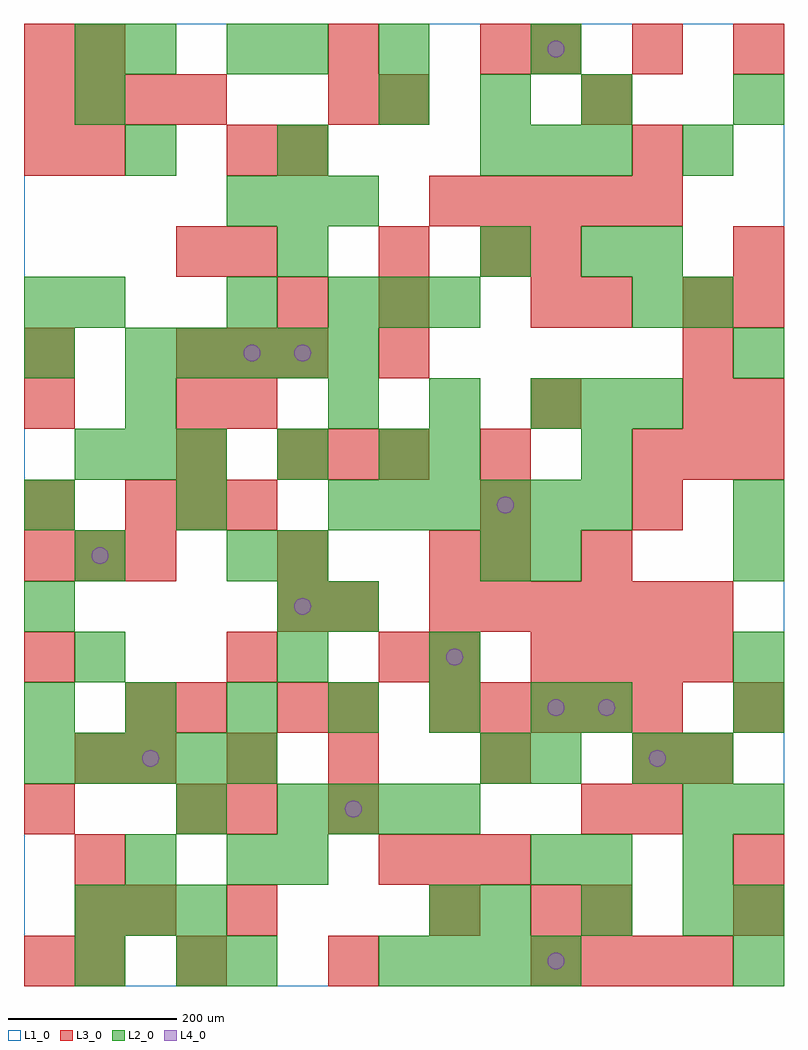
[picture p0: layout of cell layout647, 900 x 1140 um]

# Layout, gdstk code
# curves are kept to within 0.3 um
import gdstk
lib = gdstk.Library(unit=1e-6, precision=1e-09)
def R(c, l, rs):  # rectangles x0, y0, x1, y1
    for r in rs: c.add(gdstk.rectangle(r[:2], r[2:], *l))
def A(c, l, x, y, w, h, nx, ny, dx, dy):  # array of equal rectangles
    R(c, l, [(x+i*dx, y+j*dy, x+i*dx+w, y+j*dy+h) for i in range(nx) for j in range(ny)])
def P(c, l, *ps):  # polygons
    for p in ps: c.add(gdstk.Polygon(p, *l))
L1_0 = (1, 0)
L2_0 = (2, 0)
L3_0 = (3, 0)
L4_0 = (4, 0)

layout647 = lib.new_cell('layout647')
R(layout647, L1_0, [(0,0,900,1140)])
A(layout647, L2_0, 420, 0, 60, 60, 4, 1, 60, 0)
A(layout647, L2_0, 60, 60, 60, 60, 3, 2, 60, 540)
A(layout647, L2_0, 540, 60, 60, 60, 3, 1, 120, 0)
A(layout647, L2_0, 840, 60, 60, 60, 1, 3, 0, 120)
A(layout647, L2_0, 780, 120, 60, 60, 1, 3, 0, 60)
A(layout647, L2_0, 300, 180, 60, 60, 4, 1, 60, 0)
A(layout647, L2_0, 0, 240, 60, 60, 5, 1, 60, 0)
A(layout647, L2_0, 0, 300, 60, 60, 6, 1, 120, 0)
A(layout647, L2_0, 300, 360, 60, 60, 1, 3, 0, 60)
A(layout647, L2_0, 240, 480, 60, 60, 1, 3, 0, 300)
A(layout647, L2_0, 0, 540, 60, 60, 3, 1, 180, 0)
A(layout647, L2_0, 420, 540, 60, 60, 5, 1, 60, 0)
A(layout647, L2_0, 360, 660, 60, 60, 3, 1, 120, 0)
A(layout647, L2_0, 120, 720, 60, 60, 5, 1, 60, 0)
A(layout647, L2_0, 360, 780, 60, 60, 3, 1, 60, 0)
A(layout647, L2_0, 300, 840, 60, 60, 1, 3, 0, 120)
A(layout647, L2_0, 240, 900, 60, 60, 3, 1, 60, 0)
A(layout647, L2_0, 540, 960, 60, 60, 3, 1, 60, 0)
A(layout647, L2_0, 420, 1020, 60, 60, 3, 1, 120, 0)
R(layout647, L2_0, [(60,0,120,60), (180,0,240,60), (240,0,300,60), (840,0,900,60), (480,60,540,120), (120,120,180,180), (240,120,300,180), (300,120,360,180), (600,120,660,180), (660,120,720,180), (180,180,240,240), (540,240,600,300), (600,240,660,300), (720,240,780,300), (660,300,720,360), (60,360,120,420), (480,360,540,420), (840,360,900,420), (0,420,60,480), (360,420,420,480), (60,480,120,540), (540,480,600,540), (600,480,660,540), (840,480,900,540), (840,540,900,600), (300,600,360,660), (420,600,480,660), (480,600,540,660), (660,600,720,660), (120,660,180,720), (660,660,720,720), (720,660,780,720), (0,720,60,780), (840,720,900,780), (0,780,60,840), (60,780,120,840), (720,780,780,840), (780,780,840,840), (540,840,600,900), (660,840,720,900), (720,840,780,900), (120,960,180,1020), (780,960,840,1020), (60,1020,120,1080), (840,1020,900,1080), (60,1080,120,1140), (120,1080,180,1140), (420,1080,480,1140), (600,1080,660,1140)])
A(layout647, L3_0, 0, 0, 60, 60, 1, 4, 0, 180)
A(layout647, L3_0, 60, 0, 60, 60, 1, 3, 0, 60)
A(layout647, L3_0, 600, 0, 60, 60, 4, 2, 60, 360)
A(layout647, L3_0, 420, 120, 60, 60, 3, 1, 60, 0)
A(layout647, L3_0, 360, 180, 60, 60, 1, 3, 0, 120)
A(layout647, L3_0, 660, 180, 60, 60, 1, 3, 0, 300)
A(layout647, L3_0, 120, 240, 60, 60, 3, 1, 120, 0)
A(layout647, L3_0, 480, 300, 60, 60, 5, 2, 60, 600)
A(layout647, L3_0, 480, 420, 60, 60, 6, 1, 60, 0)
A(layout647, L3_0, 0, 480, 60, 60, 3, 1, 60, 0)
A(layout647, L3_0, 540, 480, 60, 60, 1, 3, 0, 60)
A(layout647, L3_0, 120, 540, 60, 60, 3, 1, 60, 0)
A(layout647, L3_0, 300, 600, 60, 60, 3, 1, 60, 0)
A(layout647, L3_0, 720, 600, 60, 60, 3, 1, 60, 0)
A(layout647, L3_0, 780, 660, 60, 60, 1, 3, 0, 60)
A(layout647, L3_0, 180, 720, 60, 60, 3, 1, 60, 0)
A(layout647, L3_0, 420, 720, 60, 60, 1, 3, 0, 60)
A(layout647, L3_0, 0, 1020, 60, 60, 4, 1, 60, 0)
A(layout647, L3_0, 600, 1080, 60, 60, 3, 1, 120, 0)
R(layout647, L3_0, [(180,0,240,60), (360,0,420,60), (120,60,180,120), (240,60,300,120), (480,60,540,120), (600,60,660,120), (660,60,720,120), (840,60,900,120), (840,120,900,180), (180,180,240,240), (240,180,300,240), (720,180,780,240), (60,240,120,300), (540,240,600,300), (720,240,780,300), (780,240,840,300), (120,300,180,360), (180,300,240,360), (300,300,360,360), (840,300,900,360), (240,360,300,420), (420,360,480,420), (480,360,540,420), (300,420,360,480), (300,480,360,540), (480,480,540,540), (720,540,780,600), (180,600,240,660), (0,660,60,720), (180,660,240,720), (240,660,300,720), (600,660,660,720), (840,660,900,720), (0,720,60,780), (300,780,360,840), (600,780,660,840), (840,780,900,840), (180,840,240,900), (240,840,300,900), (540,840,600,900), (600,840,660,900), (840,840,900,900), (0,960,60,1020), (60,960,120,1020), (240,960,300,1020), (300,960,360,1020), (720,960,780,1020), (360,1020,420,1080), (420,1020,480,1080), (660,1020,720,1080), (0,1080,60,1140), (60,1080,120,1140), (360,1080,420,1140), (540,1080,600,1140)])
P(layout647, L4_0, [(100,510),(99.239,513.827),(97.071,517.071),(93.827,519.239),(90,520),(86.173,519.239),(82.929,517.071),(80.761,513.827),(80,510),(80.761,506.173),(82.929,502.929),(86.173,500.761),(90,500),(93.827,500.761),(97.071,502.929),(99.239,506.173)],
  [(160,270),(159.239,273.827),(157.071,277.071),(153.827,279.239),(150,280),(146.173,279.239),(142.929,277.071),(140.761,273.827),(140,270),(140.761,266.173),(142.929,262.929),(146.173,260.761),(150,260),(153.827,260.761),(157.071,262.929),(159.239,266.173)],
  [(280,750),(279.239,753.827),(277.071,757.071),(273.827,759.239),(270,760),(266.173,759.239),(262.929,757.071),(260.761,753.827),(260,750),(260.761,746.173),(262.929,742.929),(266.173,740.761),(270,740),(273.827,740.761),(277.071,742.929),(279.239,746.173)],
  [(340,450),(339.239,453.827),(337.071,457.071),(333.827,459.239),(330,460),(326.173,459.239),(322.929,457.071),(320.761,453.827),(320,450),(320.761,446.173),(322.929,442.929),(326.173,440.761),(330,440),(333.827,440.761),(337.071,442.929),(339.239,446.173)],
  [(340,750),(339.239,753.827),(337.071,757.071),(333.827,759.239),(330,760),(326.173,759.239),(322.929,757.071),(320.761,753.827),(320,750),(320.761,746.173),(322.929,742.929),(326.173,740.761),(330,740),(333.827,740.761),(337.071,742.929),(339.239,746.173)],
  [(400,210),(399.239,213.827),(397.071,217.071),(393.827,219.239),(390,220),(386.173,219.239),(382.929,217.071),(380.761,213.827),(380,210),(380.761,206.173),(382.929,202.929),(386.173,200.761),(390,200),(393.827,200.761),(397.071,202.929),(399.239,206.173)],
  [(520,390),(519.239,393.827),(517.071,397.071),(513.827,399.239),(510,400),(506.173,399.239),(502.929,397.071),(500.761,393.827),(500,390),(500.761,386.173),(502.929,382.929),(506.173,380.761),(510,380),(513.827,380.761),(517.071,382.929),(519.239,386.173)],
  [(580,570),(579.239,573.827),(577.071,577.071),(573.827,579.239),(570,580),(566.173,579.239),(562.929,577.071),(560.761,573.827),(560,570),(560.761,566.173),(562.929,562.929),(566.173,560.761),(570,560),(573.827,560.761),(577.071,562.929),(579.239,566.173)],
  [(640,30),(639.239,33.827),(637.071,37.071),(633.827,39.239),(630,40),(626.173,39.239),(622.929,37.071),(620.761,33.827),(620,30),(620.761,26.173),(622.929,22.929),(626.173,20.761),(630,20),(633.827,20.761),(637.071,22.929),(639.239,26.173)],
  [(640,330),(639.239,333.827),(637.071,337.071),(633.827,339.239),(630,340),(626.173,339.239),(622.929,337.071),(620.761,333.827),(620,330),(620.761,326.173),(622.929,322.929),(626.173,320.761),(630,320),(633.827,320.761),(637.071,322.929),(639.239,326.173)],
  [(640,1110),(639.239,1113.827),(637.071,1117.071),(633.827,1119.239),(630,1120),(626.173,1119.239),(622.929,1117.071),(620.761,1113.827),(620,1110),(620.761,1106.173),(622.929,1102.929),(626.173,1100.761),(630,1100),(633.827,1100.761),(637.071,1102.929),(639.239,1106.173)],
  [(700,330),(699.239,333.827),(697.071,337.071),(693.827,339.239),(690,340),(686.173,339.239),(682.929,337.071),(680.761,333.827),(680,330),(680.761,326.173),(682.929,322.929),(686.173,320.761),(690,320),(693.827,320.761),(697.071,322.929),(699.239,326.173)],
  [(760,270),(759.239,273.827),(757.071,277.071),(753.827,279.239),(750,280),(746.173,279.239),(742.929,277.071),(740.761,273.827),(740,270),(740.761,266.173),(742.929,262.929),(746.173,260.761),(750,260),(753.827,260.761),(757.071,262.929),(759.239,266.173)])

lib.write_gds('layout647.gds')
